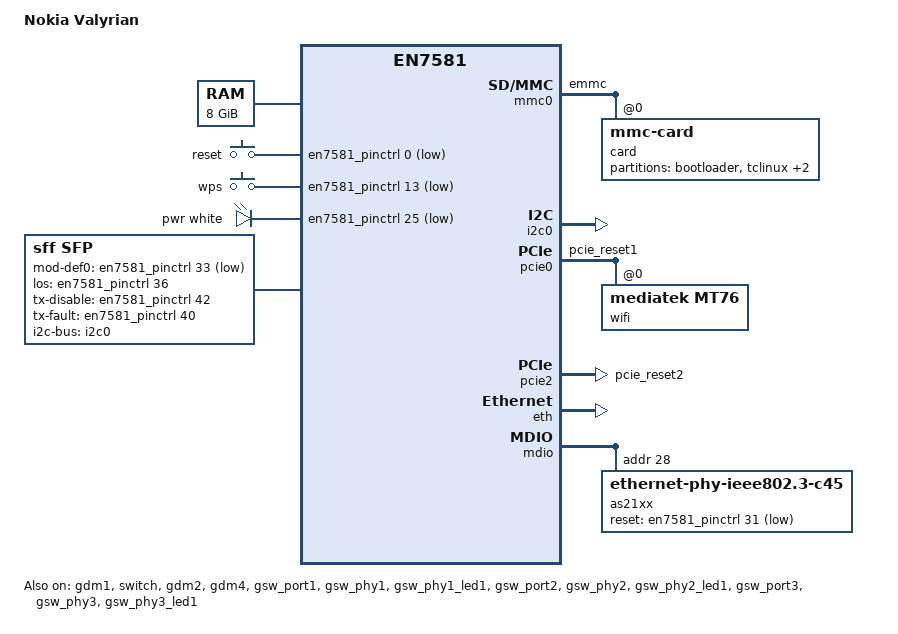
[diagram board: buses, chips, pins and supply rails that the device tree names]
// SPDX-License-Identifier: (GPL-2.0-only OR BSD-2-Clause)
/dts-v1/;

#include <dt-bindings/leds/common.h>
#include <dt-bindings/gpio/gpio.h>
#include <dt-bindings/input/input.h>
#include "an7581.dtsi"

/ {
	model = "Nokia Valyrian";
	compatible = "nokia,valyrian", "airoha,an7581", "airoha,en7581";

	aliases {
		serial0 = &uart1;
	};

	chosen {
		bootargs = "earlycon";
		stdout-path = "serial0:115200n8";
		linux,usable-memory-range = <0x0 0x80200000 0x0 0x1fe00000>;
	};

	memory@80000000 {
		device_type = "memory";
		reg = <0x0 0x80000000 0x2 0x00000000>;
	};

	gpio-keys-polled {
		compatible = "gpio-keys-polled";
		poll-interval = <100>;

		btn-0 {
			label = "reset";
			linux,code = <KEY_RESTART>;
			gpios = <&en7581_pinctrl 0 GPIO_ACTIVE_LOW>;
		};

		btn-1 {
			label = "wps";
			linux,code = <KEY_RESTART>;
			gpios = <&en7581_pinctrl 13 GPIO_ACTIVE_LOW>;
		};
	};

	leds {
		compatible = "gpio-leds";

		led-0 {
			label = "pwr";
			color = <LED_COLOR_ID_WHITE>;
			function = LED_FUNCTION_POWER;
			gpios = <&en7581_pinctrl 25 GPIO_ACTIVE_LOW>;
			default-state = "on";
		};
	};

	sfp: sfp {
		compatible = "sff,sfp";

		i2c-bus = <&i2c0>;

		mod-def0-gpios = <&en7581_pinctrl 33 GPIO_ACTIVE_LOW>;
		los-gpios = <&en7581_pinctrl 36 GPIO_ACTIVE_HIGH>;
		tx-disable-gpios = <&en7581_pinctrl 42 GPIO_ACTIVE_HIGH>;
		tx-fault-gpios = <&en7581_pinctrl 40 GPIO_ACTIVE_HIGH>;
	};
};

&en7581_pinctrl {
	gpio-ranges = <&en7581_pinctrl 0 13 47>;

	mdio_pins: mdio-pins {
		mux {
			function = "mdio";
			groups = "mdio";
		};

		conf {
			pins = "gpio2";
			output-high;
		};
	};

	pcie1_rst_pins: pcie1-rst-pins {
		conf {
			pins = "pcie_reset1";
			drive-open-drain = <1>;
		};
	};

	pcie2_rst_pins: pcie2-rst-pins {
		conf {
			pins = "pcie_reset2";
			drive-open-drain = <1>;
		};
	};

	gswp1_led1_pins: gswp1-led0-pins {
		mux {
			function = "phy1_led1";
			pins = "gpio43";
		};
	};

	gswp2_led1_pins: gswp2-led0-pins {
		mux {
			function = "phy2_led1";
			pins = "gpio44";
		};
	};

	gswp3_led1_pins: gswp3-led0-pins {
		mux {
			function = "phy3_led1";
			pins = "gpio45";
		};
	};

	mmc_pins: mmc-pins {
		mux {
			function = "emmc";
			groups = "emmc";
		};
	};
};

&mmc0 {
	pinctrl-names = "default", "state_uhs";
	pinctrl-0 = <&mmc_pins>;
	pinctrl-1 = <&mmc_pins>;
	status = "okay";

	#address-cells = <1>;
	#size-cells = <0>;

	card@0 {
		compatible = "mmc-card";
		reg = <0>;

		partitions {
			compatible = "fixed-partitions";
			#address-cells = <1>;
			#size-cells = <1>;

			bootloader@0 {
				label = "bootloader";
				reg = <0x00000000 0x00080000>;
			};

			tclinux@80000 {
				label = "tclinux";
				reg = <0x00080000 0x02800000>;
			};

			tclinux_slave@2880000 {
				label = "tclinux_slave";
				reg = <0x02880000 0x02800000>;
			};

			rootfs_data@5080000 {
				label = "rootfs_data";
				reg = <0x5080000 0x00800000>;
			};
		};
	};
};

&i2c0 {
	status = "okay";
};

&pcie0 {
	pinctrl-names = "default";
	pinctrl-0 = <&pcie1_rst_pins>;
	status = "okay";

	pcie@0,0 {
		reg = <0x0000 0 0 0 0>;
		wifi@0,0 {
			compatible = "mediatek,mt76";
			reg = <0x0000 0 0 0 0>;
			airoha,npu = <&npu>;
			airoha,eth = <&eth>;
		};
	};
};

&pcie2 {
	pinctrl-names = "default";
	pinctrl-0 = <&pcie2_rst_pins>;
	status = "okay";
};

&eth {
	status = "okay";
};

&gdm1 {
	status = "okay";
};

&mdio {
	as21xx: ethernet-phy@1c {
		compatible = "ethernet-phy-ieee802.3-c45";
		reg = <0x1c>;

		firmware-name = "as21x1x_fw.bin";

		reset-deassert-us = <1000000>;
		reset-assert-us = <1000000>;
		reset-gpios = <&en7581_pinctrl 31 GPIO_ACTIVE_LOW>;

		leds {
			#address-cells = <1>;
			#size-cells = <0>;

			led@0 {
				reg = <0>;
				color = <LED_COLOR_ID_GREEN>;
				function = LED_FUNCTION_LAN;
				default-state = "keep";
			};
		};
	};
};

&switch {
	pinctrl-names = "default";
	pinctrl-0 = <&mdio_pins>;
	status = "okay";
};

&gdm2 {
	status = "okay";

	sfp = <&sfp>;

	managed = "in-band-status";
	phy-mode = "usxgmii";

	openwrt,netdev-name = "wan";
};

&gdm4 {
	status = "okay";

	managed = "in-band-status";
	phy-handle = <&as21xx>;
	phy-mode = "usxgmii";

	openwrt,netdev-name = "10g";
};

&gsw_port1 {
	lanel = "lan1";
	status = "okay";
};

&gsw_phy1 {
	pinctrl-names = "led";
	pinctrl-0 = <&gswp1_led1_pins>;
	status = "okay";
};

&gsw_phy1_led1 {
	status = "okay";
};

&gsw_port2 {
	lanel = "lan2";
	status = "okay";
};

&gsw_phy2 {
	pinctrl-names = "led";
	pinctrl-0 = <&gswp2_led1_pins>;
	status = "okay";
};

&gsw_phy2_led1 {
	status = "okay";
};

&gsw_port3 {
	lanel = "lan3";
	status = "okay";
};

&gsw_phy3 {
	pinctrl-names = "led";
	pinctrl-0 = <&gswp3_led1_pins>;
	status = "okay";
};

&gsw_phy3_led1 {
	status = "okay";
};
